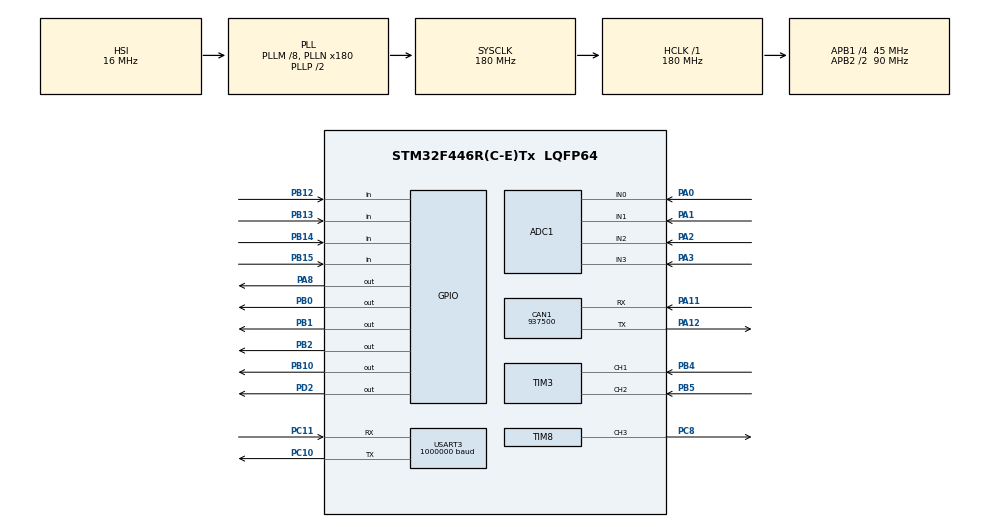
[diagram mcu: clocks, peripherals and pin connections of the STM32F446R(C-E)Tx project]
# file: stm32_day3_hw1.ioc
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ADC1.Channel-1\#ChannelRegularConversion=ADC_CHANNEL_1
ADC1.Channel-2\#ChannelRegularConversion=ADC_CHANNEL_3
ADC1.Channel-3\#ChannelRegularConversion=ADC_CHANNEL_3
ADC1.ClockPrescaler=ADC_CLOCK_SYNC_PCLK_DIV4
ADC1.DMAContinuousRequests=ENABLE
ADC1.ExternalTrigConv=ADC_EXTERNALTRIGCONV_T8_TRGO
ADC1.NbrOfConversion=4
ADC1.NbrOfConversionFlag=1
ADC1.Rank-1\#ChannelRegularConversion=2
ADC1.Rank-2\#ChannelRegularConversion=3
ADC1.Rank-3\#ChannelRegularConversion=4
ADC1.SamplingTime-0\#ChannelRegularConversion=ADC_SAMPLETIME_15CYCLES
ADC1.SamplingTime-1\#ChannelRegularConversion=ADC_SAMPLETIME_15CYCLES
ADC1.SamplingTime-2\#ChannelRegularConversion=ADC_SAMPLETIME_15CYCLES
ADC1.SamplingTime-3\#ChannelRegularConversion=ADC_SAMPLETIME_15CYCLES
ADC1.ScanConvMode=ENABLE
ADC1.master=1
CAN1.CalculateBaudRate=937500
CAN1.CalculateTimeBit=1066
CAN1.CalculateTimeQuantum=355.55555555555554
Dma.ADC1.0.Direction=DMA_PERIPH_TO_MEMORY
Dma.ADC1.0.FIFOMode=DMA_FIFOMODE_DISABLE
Dma.ADC1.0.Instance=DMA2_Stream0
Dma.ADC1.0.MemDataAlignment=DMA_MDATAALIGN_WORD
Dma.ADC1.0.MemInc=DMA_MINC_ENABLE
Dma.ADC1.0.Mode=DMA_CIRCULAR
Dma.ADC1.0.PeriphDataAlignment=DMA_PDATAALIGN_WORD
Dma.ADC1.0.PeriphInc=DMA_PINC_DISABLE
Dma.ADC1.0.Priority=DMA_PRIORITY_LOW
Dma.Request0=ADC1
Dma.Request1=USART3_RX
Dma.USART3_RX.1.Direction=DMA_PERIPH_TO_MEMORY
Dma.USART3_RX.1.FIFOMode=DMA_FIFOMODE_DISABLE
Dma.USART3_RX.1.Instance=DMA1_Stream1
Dma.USART3_RX.1.MemDataAlignment=DMA_MDATAALIGN_BYTE
Dma.USART3_RX.1.MemInc=DMA_MINC_ENABLE
Dma.USART3_RX.1.Mode=DMA_CIRCULAR
Dma.USART3_RX.1.PeriphDataAlignment=DMA_PDATAALIGN_BYTE
Dma.USART3_RX.1.PeriphInc=DMA_PINC_DISABLE
Dma.USART3_RX.1.Priority=DMA_PRIORITY_LOW
Mcu.Family=STM32F4
Mcu.Name=STM32F446R(C-E)Tx
Mcu.Package=LQFP64
NVIC.ADC_IRQn=true\:0\:0\:false\:false\:true\:true\:true\:true
NVIC.DMA1_Stream1_IRQn=true\:0\:0\:false\:false\:true\:false\:true\:true
NVIC.DMA2_Stream0_IRQn=true\:0\:0\:false\:false\:true\:false\:true\:true
NVIC.PriorityGroup=NVIC_PRIORITYGROUP_4
NVIC.TIM6_DAC_IRQn=true\:0\:0\:false\:false\:true\:true\:true\:true
NVIC.TIM8_BRK_TIM12_IRQn=true\:0\:0\:false\:false\:true\:true\:true\:true
NVIC.TIM8_CC_IRQn=true\:0\:0\:false\:false\:true\:true\:true\:true
NVIC.TIM8_TRG_COM_TIM14_IRQn=true\:0\:0\:false\:false\:true\:true\:true\:true
NVIC.TIM8_UP_TIM13_IRQn=true\:0\:0\:false\:false\:true\:true\:true\:true
NVIC.USART3_IRQn=true\:0\:0\:false\:false\:true\:true\:true\:true
PA0-WKUP.Signal=ADCx_IN0
PA1.Signal=ADCx_IN1
PA11.Mode=CAN_Activate
PA11.Signal=CAN1_RX
PA12.Mode=CAN_Activate
PA12.Signal=CAN1_TX
PA13.Mode=Serial_Wire
PA13.Signal=SYS_JTMS-SWDIO
PA14.Mode=Serial_Wire
PA14.Signal=SYS_JTCK-SWCLK
PA2.Signal=ADCx_IN2
PA3.Signal=ADCx_IN3
PA8.Signal=GPIO_Output
PB0.Signal=GPIO_Output
PB1.Signal=GPIO_Output
PB10.Signal=GPIO_Output
PB12.Signal=GPIO_Input
PB13.Signal=GPIO_Input
PB14.Signal=GPIO_Input
PB15.Signal=GPIO_Input
PB2.Signal=GPIO_Output
PB4.GPIO_PuPd=GPIO_PULLUP
PB4.Signal=S_TIM3_CH1
PB5.GPIO_PuPd=GPIO_PULLUP
PB5.Signal=S_TIM3_CH2
PC10.Mode=Asynchronous
PC10.Signal=USART3_TX
PC11.Mode=Asynchronous
PC11.Signal=USART3_RX
PC8.Signal=S_TIM8_CH3
PD2.Signal=GPIO_Output
PH0-OSC_IN.Mode=HSE-External-Oscillator
PH0-OSC_IN.Signal=RCC_OSC_IN
PH1-OSC_OUT.Mode=HSE-External-Oscillator
PH1-OSC_OUT.Signal=RCC_OSC_OUT
ProjectManager.HeapSize=0x200
ProjectManager.StackSize=0x400
ProjectManager.TargetToolchain=STM32CubeIDE
RCC.AHBFreq_Value=180000000
RCC.APB1CLKDivider=RCC_HCLK_DIV4
RCC.APB1Freq_Value=45000000
RCC.APB1TimFreq_Value=90000000
RCC.APB2CLKDivider=RCC_HCLK_DIV2
RCC.APB2Freq_Value=90000000
RCC.APB2TimFreq_Value=180000000
RCC.CortexFreq_Value=180000000
RCC.HCLKFreq_Value=180000000
RCC.HSE_VALUE=25000000
RCC.PLLM=8
RCC.PLLN=180
RCC.SYSCLKFreq_VALUE=180000000
RCC.SYSCLKSource=RCC_SYSCLKSOURCE_PLLCLK
RCC.USBFreq_Value=180000000
RCC.VCOOutputFreq_Value=360000000
SH.ADCx_IN0.0=ADC1_IN0,IN0
SH.ADCx_IN1.0=ADC1_IN1,IN1
SH.ADCx_IN2.0=ADC1_IN2,IN2
SH.ADCx_IN3.0=ADC1_IN3,IN3
SH.S_TIM3_CH1.0=TIM3_CH1,Encoder_Interface
SH.S_TIM3_CH2.0=TIM3_CH2,Encoder_Interface
SH.S_TIM8_CH3.0=TIM8_CH3,PWM Generation3 CH3
TIM3.EncoderMode=TIM_ENCODERMODE_TI12
TIM3.IC1Filter=5
TIM3.IC2Filter=5
TIM6.Period=100-1
TIM6.Prescaler=90-1
TIM8.Channel-PWM\ Generation3\ CH3=TIM_CHANNEL_3
TIM8.Period=1000-1
TIM8.Prescaler=9-1
USART3.BaudRate=1000000
USART3.VirtualMode=VM_ASYNC
VP_TIM6_VS_ClockSourceINT.Mode=Enable_Timer
board=custom

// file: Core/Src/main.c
/* USER CODE BEGIN Header */
/**
 ******************************************************************************
 * @file           : main.c
 * @brief          : Main program body
 ******************************************************************************
 * @attention
 *
 * Copyright (c) 2026 STMicroelectronics.
 * All rights reserved.
 *
 * This software is licensed under terms that can be found in the LICENSE file
 * in the root directory of this software component.
 * If no LICENSE file comes with this software, it is provided AS-IS.
 *
 ******************************************************************************
 */
/* USER CODE END Header */
#include "main.h"
#include "adc.h"
#include "can.h"
#include "dma.h"
#include "tim.h"
#include "usart.h"
#include "gpio.h"

/* USER CODE BEGIN PD */
#define RX_BUFFER_SIZE 256

/* USER CODE END PD */

/* USER CODE BEGIN PV */
uint8_t PCrxBuffer[RX_BUFFER_SIZE];
uint8_t SW_DATA;          // sw 데이터. LSB(오른쪽)부터 PB12,13,14,15 (안 눌림=1, 눌림=0)

volatile double motor_cmd = 0.0;   // -1.0 ~ 1.0
volatile uint16_t duty = 0; // 현재 PWM duty (0~1000), Live Expressions 확인용
/* USER CODE END PV */

void SystemClock_Config(void);
/* USER CODE BEGIN PFP */
void sw_data_set(void);
/* USER CODE END PFP */

int main(void)
{

  /* MCU Configuration--------------------------------------------------------*/

  /* Reset of all peripherals, Initializes the Flash interface and the Systick. */
  HAL_Init();

  /* Configure the system clock */
  SystemClock_Config();

  /* Initialize all configured peripherals */
  MX_GPIO_Init();
  MX_DMA_Init();
  MX_ADC1_Init();
  MX_TIM8_Init();
  MX_TIM6_Init();
  MX_USART3_UART_Init();
  MX_CAN1_Init();
  MX_TIM3_Init();
  /* USER CODE BEGIN 2 */

  HAL_GPIO_WritePin(GPIOA, GPIO_PIN_8, GPIO_PIN_RESET); // PA8 = 속도(PWM), 처음엔 멈춤
  TIM8->CCR3 = 0;                                      // PC8 = 방향, 항상 LOW로 고정
  TIM8->CCR4 = 0;                                      // 속도값 저장용
  HAL_TIM_PWM_Start(&htim8, TIM_CHANNEL_3);            // 타이머 시작
  __HAL_TIM_ENABLE_IT(&htim8, TIM_IT_UPDATE | TIM_IT_CC4);  // 인터럽트 켜기

  /* USER CODE END 2 */

  /* Infinite loop */
  /* USER CODE BEGIN WHILE */
	while (1)
	{
		double cmd = motor_cmd;

		//1이나 -1을 넘은 수를 입력해도 1, -1로 입력되도록 함
		if (cmd >  1.0)
		{
			cmd =  1.0;
		}
		if (cmd < -1.0)
		{
			cmd = -1.0;
		}

		// 방향: PC8 (CCR3 0 = LOW, 1000 = HIGH)
		if (cmd >= 0)
		{
			TIM8->CCR3 = 0;      // CW
		}
		else
		{
			TIM8->CCR3 = 1000;   // CCW
		}

		// 속도: |cmd| x 70%
		double mag;
		if (cmd >= 0)
		{
			mag = cmd;
		}
		else
		{
			mag = -cmd;
		}

		duty = (uint16_t)(mag * 700);
		TIM8->CCR4 = duty;

		HAL_Delay(10);

    /* USER CODE END WHILE */

	}
}

void SystemClock_Config(void)
{
  RCC_OscInitTypeDef RCC_OscInitStruct = {0};
  RCC_ClkInitTypeDef RCC_ClkInitStruct = {0};

  /** Configure the main internal regulator output voltage
  */
  __HAL_RCC_PWR_CLK_ENABLE();
  __HAL_PWR_VOLTAGESCALING_CONFIG(PWR_REGULATOR_VOLTAGE_SCALE1);

  /** Initializes the RCC Oscillators according to the specified parameters
  * in the RCC_OscInitTypeDef structure.
  */
  RCC_OscInitStruct.OscillatorType = RCC_OSCILLATORTYPE_HSI;
  RCC_OscInitStruct.HSIState = RCC_HSI_ON;
  RCC_OscInitStruct.HSICalibrationValue = RCC_HSICALIBRATION_DEFAULT;
  RCC_OscInitStruct.PLL.PLLState = RCC_PLL_ON;
  RCC_OscInitStruct.PLL.PLLSource = RCC_PLLSOURCE_HSI;
  RCC_OscInitStruct.PLL.PLLM = 8;
  RCC_OscInitStruct.PLL.PLLN = 180;
  RCC_OscInitStruct.PLL.PLLP = RCC_PLLP_DIV2;
  RCC_OscInitStruct.PLL.PLLQ = 2;
  RCC_OscInitStruct.PLL.PLLR = 2;
  if (HAL_RCC_OscConfig(&RCC_OscInitStruct) != HAL_OK)
  {
    Error_Handler();
  }

  /** Activate the Over-Drive mode
  */
  if (HAL_PWREx_EnableOverDrive() != HAL_OK)
  {
    Error_Handler();
  }

  /** Initializes the CPU, AHB and APB buses clocks
  */
  RCC_ClkInitStruct.ClockType = RCC_CLOCKTYPE_HCLK|RCC_CLOCKTYPE_SYSCLK
                              |RCC_CLOCKTYPE_PCLK1|RCC_CLOCKTYPE_PCLK2;
  RCC_ClkInitStruct.SYSCLKSource = RCC_SYSCLKSOURCE_PLLCLK;
  RCC_ClkInitStruct.AHBCLKDivider = RCC_SYSCLK_DIV1;
  RCC_ClkInitStruct.APB1CLKDivider = RCC_HCLK_DIV4;
  RCC_ClkInitStruct.APB2CLKDivider = RCC_HCLK_DIV2;

  if (HAL_RCC_ClockConfig(&RCC_ClkInitStruct, FLASH_LATENCY_5) != HAL_OK)
  {
    Error_Handler();
  }
}

/* USER CODE BEGIN 4 */

// 스위치 세팅 (PB12,13,14,15 -> SW_DATA 비트0~3)
void sw_data_set(void) {
	if (HAL_GPIO_ReadPin(GPIOB, GPIO_PIN_12))
		SW_DATA |= 0x01;
	else
		SW_DATA &= ~(0x01);

	if (HAL_GPIO_ReadPin(GPIOB, GPIO_PIN_13))
		SW_DATA |= 0x02;
	else
		SW_DATA &= ~(0x02);

	if (HAL_GPIO_ReadPin(GPIOB, GPIO_PIN_14))
		SW_DATA |= 0x04;
	else
		SW_DATA &= ~(0x04);

	if (HAL_GPIO_ReadPin(GPIOB, GPIO_PIN_15))
		SW_DATA |= 0x08;
	else
		SW_DATA &= ~(0x08);
}

// 주기 시작(카운터 0) -> PA8 HIGH
void HAL_TIM_PeriodElapsedCallback(TIM_HandleTypeDef *htim) {
	if (htim->Instance == TIM8) {
		if (duty > 0) GPIOA->BSRR = GPIO_PIN_8;                   // HIGH
		else          GPIOA->BSRR = (uint32_t)GPIO_PIN_8 << 16;   // duty 0이면 계속 LOW
	}
}

// 카운터가 CCR4에 도달 -> PA8 LOW
void HAL_TIM_OC_DelayElapsedCallback(TIM_HandleTypeDef *htim) {
	if (htim->Instance == TIM8 && htim->Channel == HAL_TIM_ACTIVE_CHANNEL_4) {
		if (duty < 1000) GPIOA->BSRR = (uint32_t)GPIO_PIN_8 << 16; // LOW
	}
}
/* USER CODE END 4 */

void Error_Handler(void)
{
	__disable_irq();
	while (1) {
	}
}
